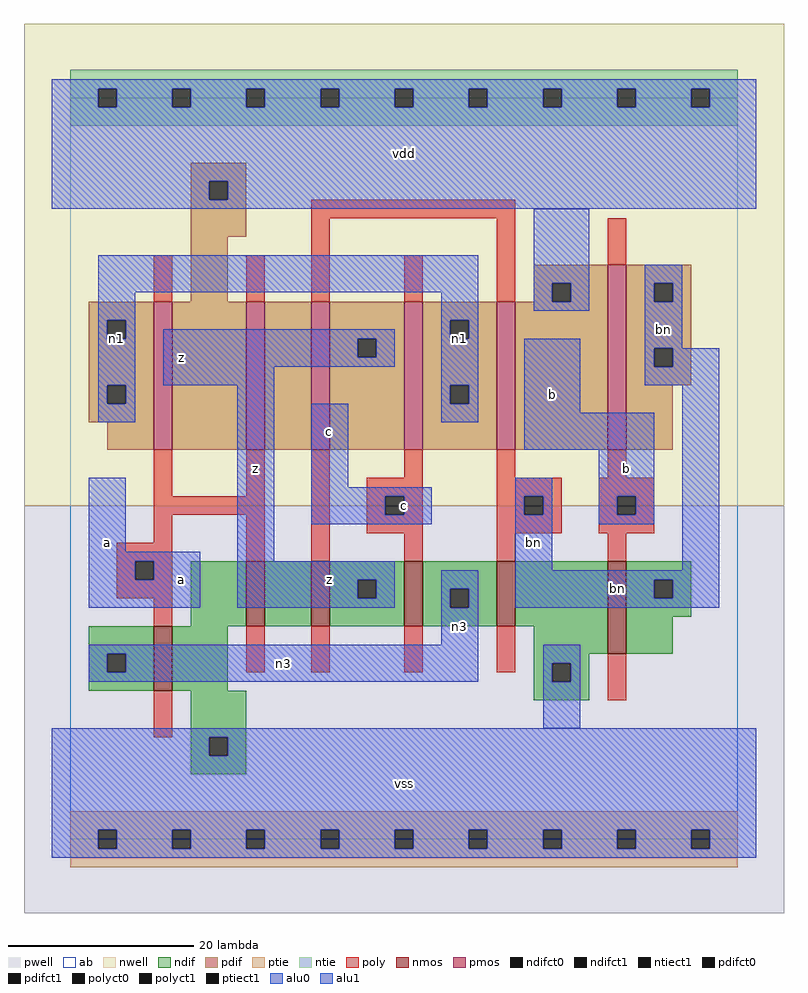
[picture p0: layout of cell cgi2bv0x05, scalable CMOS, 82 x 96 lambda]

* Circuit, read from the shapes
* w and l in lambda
.subckt cgi2bv0x05 a b bn c n1 n3 vdd vss z
M1 vss a n3 vss nfet w=7 l=2
M2 n2 a vss vss nfet w=7 l=2
M3 z bn n2 vss nfet w=7 l=2
M4 n3 c z vss nfet w=7 l=2
M5 vss bn n3 vss nfet w=7 l=2
M6 bn b vss vss nfet w=10 l=2
M7 vdd a n1 vdd pfet w=16 l=2
M8 n4 a vdd vdd pfet w=16 l=2
M9 z bn n4 vdd pfet w=16 l=2
M10 n1 c z vdd pfet w=16 l=2
M11 vdd bn n1 vdd pfet w=16 l=2
M12 bn b vdd vdd pfet w=20 l=2
.ends

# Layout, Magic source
magic
tech scmos
<< ab >>
rect 0 0 72 80
<< nwell >>
rect -5 36 77 88
<< pwell >>
rect -5 -8 77 36
<< poly >>
rect 26 67 48 69
rect 9 58 11 63
rect 19 58 21 63
rect 26 58 28 67
rect 36 58 38 63
rect 46 58 48 67
rect 58 62 60 67
rect 9 37 11 42
rect 19 37 21 42
rect 9 35 21 37
rect 9 32 11 35
rect 5 30 11 32
rect 19 30 21 35
rect 26 30 28 42
rect 36 39 38 42
rect 32 37 38 39
rect 32 35 34 37
rect 36 35 38 37
rect 32 33 38 35
rect 36 30 38 33
rect 46 39 48 42
rect 58 39 60 42
rect 46 37 53 39
rect 46 35 49 37
rect 51 35 53 37
rect 46 33 53 35
rect 57 37 63 39
rect 57 35 59 37
rect 61 35 63 37
rect 57 33 63 35
rect 46 30 48 33
rect 58 30 60 33
rect 5 28 7 30
rect 9 28 11 30
rect 5 26 11 28
rect 9 23 11 26
rect 19 18 21 23
rect 26 18 28 23
rect 36 18 38 23
rect 46 18 48 23
rect 9 11 11 16
rect 58 15 60 20
<< ndif >>
rect 13 23 19 30
rect 21 23 26 30
rect 28 28 36 30
rect 28 26 31 28
rect 33 26 36 28
rect 28 23 36 26
rect 38 27 46 30
rect 38 25 41 27
rect 43 25 46 27
rect 38 23 46 25
rect 48 23 58 30
rect 2 20 9 23
rect 2 18 4 20
rect 6 18 9 20
rect 2 16 9 18
rect 11 16 17 23
rect 50 20 58 23
rect 60 28 67 30
rect 60 26 63 28
rect 65 26 67 28
rect 60 24 67 26
rect 60 20 65 24
rect 50 19 56 20
rect 50 17 52 19
rect 54 17 56 19
rect 13 11 19 16
rect 50 15 56 17
rect 13 9 15 11
rect 17 9 19 11
rect 13 7 19 9
<< pdif >>
rect 13 71 19 73
rect 13 69 15 71
rect 17 69 19 71
rect 13 65 19 69
rect 13 58 17 65
rect 50 60 58 62
rect 50 58 52 60
rect 54 58 58 60
rect 2 56 9 58
rect 2 54 4 56
rect 6 54 9 56
rect 2 49 9 54
rect 2 47 4 49
rect 6 47 9 49
rect 2 45 9 47
rect 4 42 9 45
rect 11 42 19 58
rect 21 42 26 58
rect 28 54 36 58
rect 28 52 31 54
rect 33 52 36 54
rect 28 42 36 52
rect 38 56 46 58
rect 38 54 41 56
rect 43 54 46 56
rect 38 49 46 54
rect 38 47 41 49
rect 43 47 46 49
rect 38 42 46 47
rect 48 42 58 58
rect 60 60 67 62
rect 60 58 63 60
rect 65 58 67 60
rect 60 53 67 58
rect 60 51 63 53
rect 65 51 67 53
rect 60 49 67 51
rect 60 42 65 49
<< alu1 >>
rect -2 81 74 82
rect -2 79 3 81
rect 5 79 11 81
rect 13 79 19 81
rect 21 79 27 81
rect 29 79 35 81
rect 37 79 43 81
rect 45 79 51 81
rect 53 79 59 81
rect 61 79 67 81
rect 69 79 74 81
rect -2 71 74 79
rect -2 69 15 71
rect 17 69 74 71
rect -2 68 74 69
rect 10 54 35 55
rect 10 52 31 54
rect 33 52 35 54
rect 10 51 35 52
rect 10 49 22 51
rect 2 31 6 39
rect 2 30 14 31
rect 2 28 7 30
rect 9 28 14 30
rect 2 25 14 28
rect 18 30 22 49
rect 26 38 30 47
rect 49 46 55 54
rect 49 42 63 46
rect 26 37 39 38
rect 26 35 34 37
rect 36 35 39 37
rect 26 34 39 35
rect 18 28 35 30
rect 57 37 63 42
rect 57 35 59 37
rect 61 35 63 37
rect 57 34 63 35
rect 18 26 31 28
rect 33 26 35 28
rect 18 25 35 26
rect -2 11 74 12
rect -2 9 15 11
rect 17 9 74 11
rect -2 1 74 9
rect -2 -1 3 1
rect 5 -1 11 1
rect 13 -1 19 1
rect 21 -1 27 1
rect 29 -1 35 1
rect 37 -1 43 1
rect 45 -1 51 1
rect 53 -1 59 1
rect 61 -1 67 1
rect 69 -1 74 1
rect -2 -2 74 -1
<< ptie >>
rect 0 1 72 3
rect 0 -1 3 1
rect 5 -1 11 1
rect 13 -1 19 1
rect 21 -1 27 1
rect 29 -1 35 1
rect 37 -1 43 1
rect 45 -1 51 1
rect 53 -1 59 1
rect 61 -1 67 1
rect 69 -1 72 1
rect 0 -3 72 -1
<< ntie >>
rect 0 81 72 83
rect 0 79 3 81
rect 5 79 11 81
rect 13 79 19 81
rect 21 79 27 81
rect 29 79 35 81
rect 37 79 43 81
rect 45 79 51 81
rect 53 79 59 81
rect 61 79 67 81
rect 69 79 72 81
rect 0 77 72 79
<< nmos >>
rect 19 23 21 30
rect 26 23 28 30
rect 36 23 38 30
rect 46 23 48 30
rect 9 16 11 23
rect 58 20 60 30
<< pmos >>
rect 9 42 11 58
rect 19 42 21 58
rect 26 42 28 58
rect 36 42 38 58
rect 46 42 48 58
rect 58 42 60 62
<< polyct0 >>
rect 49 35 51 37
<< polyct1 >>
rect 34 35 36 37
rect 59 35 61 37
rect 7 28 9 30
<< ndifct0 >>
rect 41 25 43 27
rect 4 18 6 20
rect 63 26 65 28
rect 52 17 54 19
<< ndifct1 >>
rect 31 26 33 28
rect 15 9 17 11
<< ntiect1 >>
rect 3 79 5 81
rect 11 79 13 81
rect 19 79 21 81
rect 27 79 29 81
rect 35 79 37 81
rect 43 79 45 81
rect 51 79 53 81
rect 59 79 61 81
rect 67 79 69 81
<< ptiect1 >>
rect 3 -1 5 1
rect 11 -1 13 1
rect 19 -1 21 1
rect 27 -1 29 1
rect 35 -1 37 1
rect 43 -1 45 1
rect 51 -1 53 1
rect 59 -1 61 1
rect 67 -1 69 1
<< pdifct0 >>
rect 52 58 54 60
rect 4 54 6 56
rect 4 47 6 49
rect 41 54 43 56
rect 41 47 43 49
rect 63 58 65 60
rect 63 51 65 53
<< pdifct1 >>
rect 15 69 17 71
rect 31 52 33 54
<< alu0 >>
rect 3 59 44 63
rect 3 56 7 59
rect 3 54 4 56
rect 6 54 7 56
rect 40 56 44 59
rect 50 60 56 68
rect 50 58 52 60
rect 54 58 56 60
rect 50 57 56 58
rect 62 60 66 62
rect 62 58 63 60
rect 65 58 66 60
rect 3 49 7 54
rect 40 54 41 56
rect 43 54 44 56
rect 3 47 4 49
rect 6 47 7 49
rect 3 45 7 47
rect 40 49 44 54
rect 40 47 41 49
rect 43 47 44 49
rect 40 45 44 47
rect 62 53 66 58
rect 62 51 63 53
rect 65 51 70 53
rect 62 49 70 51
rect 48 37 52 39
rect 48 35 49 37
rect 51 35 52 37
rect 48 29 52 35
rect 66 29 70 49
rect 40 27 44 29
rect 40 25 41 27
rect 43 25 44 27
rect 48 28 70 29
rect 48 26 63 28
rect 65 26 70 28
rect 48 25 70 26
rect 40 21 44 25
rect 2 20 44 21
rect 2 18 4 20
rect 6 18 44 20
rect 2 17 44 18
rect 51 19 55 21
rect 51 17 52 19
rect 54 17 55 19
rect 51 12 55 17
<< labels >>
rlabel alu0 5 54 5 54 6 n1
rlabel alu0 42 23 42 23 6 n3
rlabel alu0 23 19 23 19 6 n3
rlabel alu0 50 32 50 32 6 bn
rlabel alu0 42 54 42 54 6 n1
rlabel alu0 59 27 59 27 6 bn
rlabel alu0 64 55 64 55 6 bn
rlabel alu1 12 28 12 28 6 a
rlabel alu1 4 32 4 32 6 a
rlabel alu1 12 52 12 52 6 z
rlabel alu1 28 28 28 28 6 z
rlabel alu1 28 44 28 44 6 c
rlabel alu1 20 40 20 40 6 z
rlabel alu1 36 6 36 6 6 vss
rlabel alu1 36 36 36 36 6 c
rlabel alu1 52 48 52 48 6 b
rlabel alu1 36 74 36 74 6 vdd
rlabel alu1 60 40 60 40 6 b
<< end >>
